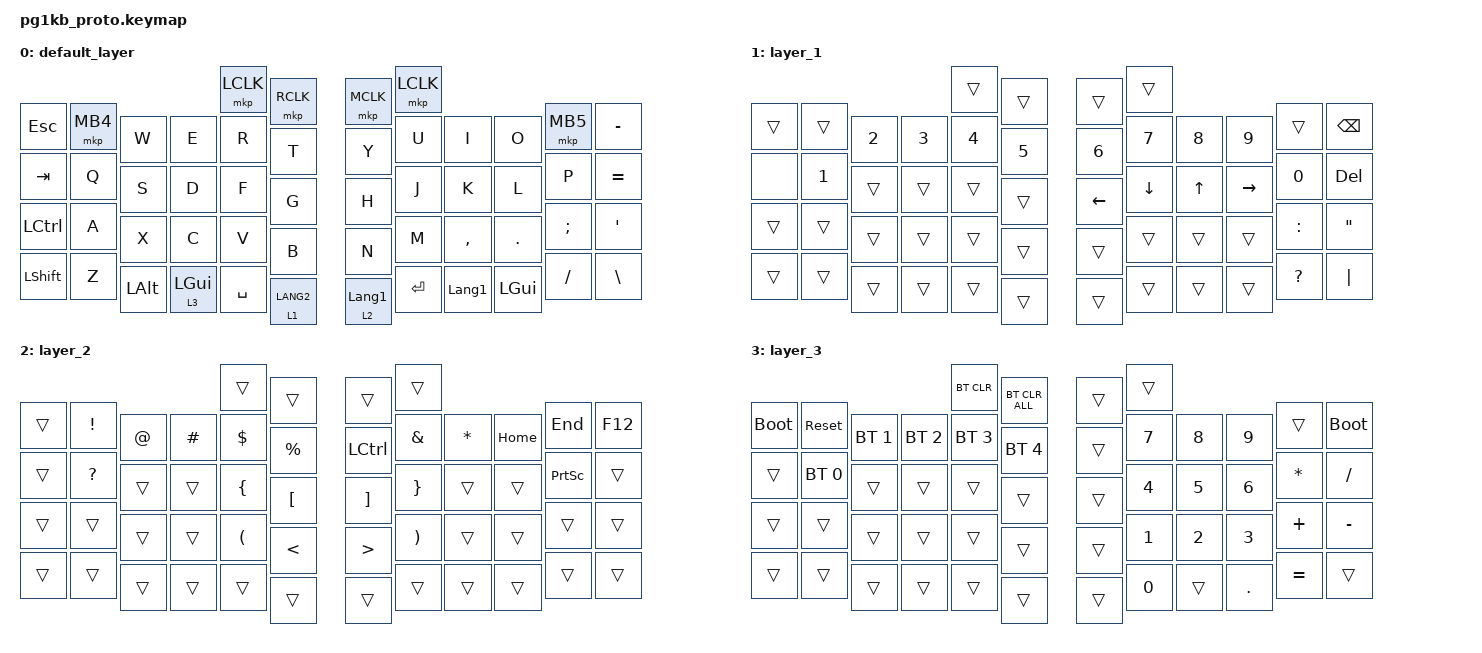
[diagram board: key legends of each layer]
#include <input/processors.dtsi>
#include <dt-bindings/zmk/input_transform.h>
#include <behaviors.dtsi>
#include <dt-bindings/zmk/bt.h>
#include <dt-bindings/zmk/keys.h>
#include <dt-bindings/zmk/pointing.h>

/ {
    behaviors {
        lt {
            tapping-term-ms = <150>;
            quick-tap-ms = <200>;
        };
    };

    combos {
        compatible = "zmk,combos";

        combo-bs {
            bindings = <&kp BACKSPACE>;
            key-positions = <27 28>;
        };

        combo-del {
            bindings = <&kp DELETE>;
            key-positions = <28 29>;
        };

        combo-enter {
            bindings = <&kp ENTER>;
            key-positions = <27 28 29>;
        };
    };

    keymap {
        compatible = "zmk,keymap";

        default_layer {
            bindings = <
&kp ESC         &mkp MB4                                &mkp LCLK  &mkp RCLK    &mkp MCLK         &mkp LCLK                                &mkp MB5   &kp MINUS
&kp TAB         &kp Q     &kp W         &kp E           &kp R      &kp T        &kp Y             &kp U      &kp I           &kp O         &kp P      &kp EQUAL
&kp LCTRL       &kp A     &kp S         &kp D           &kp F      &kp G        &kp H             &kp J      &kp K           &kp L         &kp SEMI   &kp SINGLE_QUOTE
&kp LEFT_SHIFT  &kp Z     &kp X         &kp C           &kp V      &kp B        &kp N             &kp M      &kp COMMA       &kp PERIOD    &kp SLASH  &kp BACKSLASH
                          &kp LEFT_ALT  &lt 3 LEFT_GUI  &kp SPACE  &lt 1 LANG2  &lt 2 LANGUAGE_1  &kp ENTER  &kp LANGUAGE_1  &kp LEFT_GUI
            >;
        };

        layer_1 {
            bindings = <
&trans  &trans                  &trans  &trans  &trans    &trans                       &trans        &kp BSPC
&none   &kp N1  &kp N2  &kp N3  &kp N4  &kp N5  &kp N6    &kp N7    &kp N8  &kp N9     &kp N0        &kp DEL
&trans  &trans  &trans  &trans  &trans  &trans  &kp LEFT  &kp DOWN  &kp UP  &kp RIGHT  &kp COLON     &kp DOUBLE_QUOTES
&trans  &trans  &trans  &trans  &trans  &trans  &trans    &trans    &trans  &trans     &kp QUESTION  &kp PIPE
                &trans  &trans  &trans  &trans  &trans    &trans    &trans  &trans
            >;
        };

        layer_2 {
            bindings = <
&trans  &kp EXCLAMATION                         &trans                &trans         &trans            &trans                                         &kp END          &kp F12
&trans  &kp QUESTION     &kp AT_SIGN  &kp HASH  &kp DOLLAR            &kp PERCENT    &kp LCTRL         &kp AMPERSAND          &kp ASTERISK  &kp HOME  &kp PRINTSCREEN  &trans
&trans  &trans           &trans       &trans    &kp LEFT_BRACE        &kp LBKT       &kp RBKT          &kp RIGHT_BRACE        &trans        &trans    &trans           &trans
&trans  &trans           &trans       &trans    &kp LEFT_PARENTHESIS  &kp LESS_THAN  &kp GREATER_THAN  &kp RIGHT_PARENTHESIS  &trans        &trans    &trans           &trans
                         &trans       &trans    &trans                &trans         &trans            &trans                 &trans        &trans
            >;
        };

        layer_3 {
            bindings = <
&bootloader  &sys_reset                                &bt BT_CLR    &bt BT_CLR_ALL  &trans  &trans                   &trans     &bootloader
&trans       &bt BT_SEL 0  &bt BT_SEL 1  &bt BT_SEL 2  &bt BT_SEL 3  &bt BT_SEL 4    &trans  &kp N7  &kp N8  &kp N9   &kp ASTRK  &kp SLASH
&trans       &trans        &trans        &trans        &trans        &trans          &trans  &kp N4  &kp N5  &kp N6   &kp PLUS   &kp MINUS
&trans       &trans        &trans        &trans        &trans        &trans          &trans  &kp N1  &kp N2  &kp N3   &kp EQUAL  &trans
                           &trans        &trans        &trans        &trans          &trans  &kp N0  &trans  &kp DOT
            >;
        };
    };
};

&left_trackball_listener {
    input-processors =
        <&zip_xy_transform (INPUT_TRANSFORM_X_INVERT | INPUT_TRANSFORM_Y_INVERT)>,
        <&zip_xy_to_scroll_mapper>,
        <&zip_scroll_scaler 1 16>;
};

&right_trackball_listener {
    input-processors =
        <&zip_xy_transform (INPUT_TRANSFORM_XY_SWAP | INPUT_TRANSFORM_Y_INVERT)>,
        <&zip_xy_scaler 3 2>;
};
